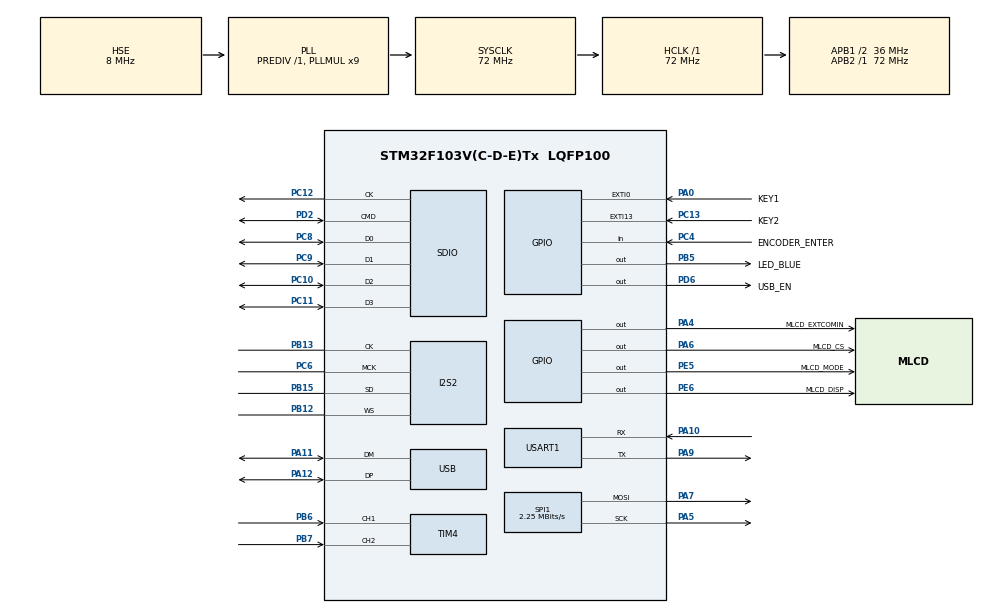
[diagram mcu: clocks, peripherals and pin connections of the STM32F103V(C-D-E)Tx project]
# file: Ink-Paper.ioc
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Dma.Request0=SPI2_TX
Dma.SPI2_TX.0.Direction=DMA_MEMORY_TO_PERIPH
Dma.SPI2_TX.0.Instance=DMA1_Channel5
Dma.SPI2_TX.0.MemDataAlignment=DMA_MDATAALIGN_HALFWORD
Dma.SPI2_TX.0.MemInc=DMA_MINC_ENABLE
Dma.SPI2_TX.0.Mode=DMA_NORMAL
Dma.SPI2_TX.0.PeriphDataAlignment=DMA_PDATAALIGN_HALFWORD
Dma.SPI2_TX.0.PeriphInc=DMA_PINC_DISABLE
Dma.SPI2_TX.0.Priority=DMA_PRIORITY_LOW
FATFS._CODE_PAGE=936
FATFS._FS_LOCK=50
FATFS._FS_REENTRANT=0
FATFS._MAX_LFN=100
FATFS._USE_FIND=1
FATFS._USE_LFN=2
FATFS._VOLUMES=1
FREERTOS.INCLUDE_vTaskDelayUntil=1
FREERTOS.MEMORY_ALLOCATION=1
FREERTOS.Tasks01=defaultTask,0,1024,StartDefaultTask,Default,NULL,Static,defaultTaskBuffer,defaultTaskControlBlock;mainTask,0,1024,StartMainTask,Default,NULL,Static,mainTaskBuffer,mainTaskControlBlock
FREERTOS.configTOTAL_HEAP_SIZE=12288
I2S2.AudioFreq=I2S_AUDIOFREQ_16K
I2S2.ErrorAudioFreq=-2.34 %
I2S2.Instance=SPI$Index
I2S2.MCLKOutput=I2S_MCLKOUTPUT_ENABLE
I2S2.RealAudioFreq=15.625 KHz
I2S2.VirtualMode=I2S_MODE_MASTER
Mcu.Family=STM32F1
Mcu.Name=STM32F103V(C-D-E)Tx
Mcu.Package=LQFP100
NVIC.DMA1_Channel5_IRQn=true\:5\:0\:false\:false\:true\:true\:false\:true\:true
NVIC.EXTI0_IRQn=true\:5\:0\:false\:false\:true\:true\:true\:true\:true
NVIC.PriorityGroup=NVIC_PRIORITYGROUP_4
NVIC.SDIO_IRQn=true\:5\:0\:true\:false\:true\:true\:true\:true\:true
NVIC.TIM1_UP_IRQn=true\:15\:0\:true\:false\:true\:false\:false\:true\:true
NVIC.TimeBase=TIM1_UP_IRQn
NVIC.TimeBaseIP=TIM1
NVIC.USART1_IRQn=true\:5\:0\:false\:false\:true\:true\:true\:true\:true
NVIC.USB_LP_CAN1_RX0_IRQn=true\:6\:0\:true\:false\:true\:true\:false\:true\:true
OSC_IN.Mode=HSE-External-Oscillator
OSC_IN.Signal=RCC_OSC_IN
OSC_OUT.Mode=HSE-External-Oscillator
OSC_OUT.Signal=RCC_OSC_OUT
PA0-WKUP.GPIO_Label=KEY1
PA0-WKUP.GPIO_ModeDefaultEXTI=GPIO_MODE_IT_RISING_FALLING
PA0-WKUP.Signal=GPXTI0
PA10.Mode=Asynchronous
PA10.Signal=USART1_RX
PA11.Mode=Device
PA11.Signal=USB_DM
PA12.Mode=Device
PA12.Signal=USB_DP
PA13.Mode=Serial_Wire
PA13.Signal=SYS_JTMS-SWDIO
PA14.Mode=Serial_Wire
PA14.Signal=SYS_JTCK-SWCLK
PA4.GPIO_Label=MLCD_EXTCOMIN
PA4.Signal=GPIO_Output
PA5.Mode=TX_Only_Simplex_Unidirect_Master
PA5.Signal=SPI1_SCK
PA6.GPIO_Label=MLCD_CS
PA6.Signal=GPIO_Output
PA7.Mode=TX_Only_Simplex_Unidirect_Master
PA7.Signal=SPI1_MOSI
PA9.Mode=Asynchronous
PA9.Signal=USART1_TX
PB12.Mode=Half_Duplex_Master_TX
PB12.Signal=I2S2_WS
PB13.Mode=Half_Duplex_Master_TX
PB13.Signal=I2S2_CK
PB15.Mode=Half_Duplex_Master_TX
PB15.Signal=I2S2_SD
PB5.GPIO_Label=LED_BLUE
PB5.Signal=GPIO_Output
PB6.Signal=S_TIM4_CH1
PB7.Signal=S_TIM4_CH2
PC10.Mode=SD_4_bits_Wide_bus
PC10.Signal=SDIO_D2
PC11.Mode=SD_4_bits_Wide_bus
PC11.Signal=SDIO_D3
PC12.Mode=SD_4_bits_Wide_bus
PC12.Signal=SDIO_CK
PC13-TAMPER-RTC.GPIO_Label=KEY2
PC13-TAMPER-RTC.GPIO_ModeDefaultEXTI=GPIO_MODE_IT_RISING_FALLING
PC13-TAMPER-RTC.Signal=GPXTI13
PC14-OSC32_IN.Mode=LSE-External-Oscillator
PC14-OSC32_IN.Signal=RCC_OSC32_IN
PC15-OSC32_OUT.Mode=LSE-External-Oscillator
PC15-OSC32_OUT.Signal=RCC_OSC32_OUT
PC4.GPIO_Label=ENCODER_ENTER
PC4.GPIO_PuPd=GPIO_PULLUP
PC4.Signal=GPIO_Input
PC6.Mode=Master_Clock_Activated
PC6.Signal=I2S2_MCK
PC8.Mode=SD_4_bits_Wide_bus
PC8.Signal=SDIO_D0
PC9.Mode=SD_4_bits_Wide_bus
PC9.Signal=SDIO_D1
PD2.Mode=SD_4_bits_Wide_bus
PD2.Signal=SDIO_CMD
PD6.GPIO_Label=USB_EN
PD6.GPIO_ModeDefaultOutputPP=GPIO_MODE_OUTPUT_PP
PD6.GPIO_PuPd=GPIO_NOPULL
PD6.PinState=GPIO_PIN_SET
PD6.Signal=GPIO_Output
PE5.GPIO_Label=MLCD_MODE
PE5.Signal=GPIO_Output
PE6.GPIO_Label=MLCD_DISP
PE6.Signal=GPIO_Output
ProjectManager.HeapSize=0x500
ProjectManager.StackSize=0x500
ProjectManager.TargetToolchain=STM32CubeIDE
RCC.AHBFreq_Value=72000000
RCC.APB1CLKDivider=RCC_HCLK_DIV2
RCC.APB1Freq_Value=36000000
RCC.APB1TimFreq_Value=72000000
RCC.APB2Freq_Value=72000000
RCC.APB2TimFreq_Value=72000000
RCC.HCLKFreq_Value=72000000
RCC.PLLMUL=RCC_PLL_MUL9
RCC.PLLSourceVirtual=RCC_PLLSOURCE_HSE
RCC.SYSCLKFreq_VALUE=72000000
RCC.SYSCLKSource=RCC_SYSCLKSOURCE_PLLCLK
RCC.USBFreq_Value=48000000
RCC.USBPrescaler=RCC_USBCLKSOURCE_PLL_DIV1_5
SDIO.ClockDiv=2
SDIO.HardwareFlowControl=SDIO_HARDWARE_FLOW_CONTROL_ENABLE
SH.S_TIM4_CH1.0=TIM4_CH1,Encoder_Interface
SH.S_TIM4_CH2.0=TIM4_CH2,Encoder_Interface
SPI1.BaudRatePrescaler=SPI_BAUDRATEPRESCALER_32
SPI1.CalculateBaudRate=2.25 MBits/s
SPI1.Direction=SPI_DIRECTION_2LINES
SPI1.FirstBit=SPI_FIRSTBIT_LSB
SPI1.Mode=SPI_MODE_MASTER
SPI1.VirtualType=VM_MASTER
TIM4.EncoderMode=TIM_ENCODERMODE_TI12
USART1.VirtualMode=VM_ASYNC
USB_DEVICE.CLASS_NAME_FS=MSC
USB_DEVICE.VirtualMode=Msc
USB_DEVICE.VirtualModeFS=Msc_FS
VP_FATFS_VS_SDIO.Mode=SDIO
VP_FREERTOS_VS_CMSIS_V1.Mode=CMSIS_V1
VP_SYS_VS_tim1.Mode=TIM1
VP_USB_DEVICE_VS_USB_DEVICE_MSC_FS.Mode=MSC_FS
board=custom

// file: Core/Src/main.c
/* USER CODE BEGIN Header */
/**
  ******************************************************************************
  * @file           : main.c
  * @brief          : Main program body
  ******************************************************************************
  * @attention
  *
  * Copyright (c) 2022 STMicroelectronics.
  * All rights reserved.
  *
  * This software is licensed under terms that can be found in the LICENSE file
  * in the root directory of this software component.
  * If no LICENSE file comes with this software, it is provided AS-IS.
  *
  ******************************************************************************
  */

/* USER CODE END Header */
#include "main.h"
#include "cmsis_os.h"
#include "dma.h"
#include "fatfs.h"
#include "i2s.h"
#include "sdio.h"
#include "spi.h"
#include "tim.h"
#include "usart.h"
#include "usb_device.h"
#include "gpio.h"

/* USER CODE BEGIN Includes */
#include "../../User/fops.h"
#include "ff.h"
#include "../../User/bsp_delay.h"
#include "lvgl.h"
/* USER CODE END Includes */

void SystemClock_Config(void);
void MX_FREERTOS_Init(void);

int main(void)
{

  /* MCU Configuration--------------------------------------------------------*/

  /* Reset of all peripherals, Initializes the Flash interface and the Systick. */
  HAL_Init();

  /* Configure the system clock */
  SystemClock_Config();

  /* Initialize all configured peripherals */
  MX_GPIO_Init();
  MX_DMA_Init();
  MX_SPI1_Init();
  MX_USART1_UART_Init();
  MX_SDIO_SD_Init();
  MX_FATFS_Init();
  MX_TIM4_Init();
  MX_I2S2_Init();
  /* USER CODE BEGIN 2 */
    delay_init();
    printf("%d",f_mount(&SDFatFS,SDPath,0));
    exf_showfree((uint8_t*)"0:");
    delay_ms(1000);
  /* USER CODE END 2 */

  /* Call init function for freertos objects (in freertos.c) */
  MX_FREERTOS_Init();

  /* Start scheduler */
  osKernelStart();

  /* We should never get here as control is now taken by the scheduler */
  /* Infinite loop */
    while (1)
    {

    }
}

void SystemClock_Config(void)
{
  RCC_OscInitTypeDef RCC_OscInitStruct = {0};
  RCC_ClkInitTypeDef RCC_ClkInitStruct = {0};
  RCC_PeriphCLKInitTypeDef PeriphClkInit = {0};

  /** Initializes the RCC Oscillators according to the specified parameters
  * in the RCC_OscInitTypeDef structure.
  */
  RCC_OscInitStruct.OscillatorType = RCC_OSCILLATORTYPE_HSE;
  RCC_OscInitStruct.HSEState = RCC_HSE_ON;
  RCC_OscInitStruct.HSEPredivValue = RCC_HSE_PREDIV_DIV1;
  RCC_OscInitStruct.HSIState = RCC_HSI_ON;
  RCC_OscInitStruct.PLL.PLLState = RCC_PLL_ON;
  RCC_OscInitStruct.PLL.PLLSource = RCC_PLLSOURCE_HSE;
  RCC_OscInitStruct.PLL.PLLMUL = RCC_PLL_MUL9;
  if (HAL_RCC_OscConfig(&RCC_OscInitStruct) != HAL_OK)
  {
    Error_Handler();
  }

  /** Initializes the CPU, AHB and APB buses clocks
  */
  RCC_ClkInitStruct.ClockType = RCC_CLOCKTYPE_HCLK|RCC_CLOCKTYPE_SYSCLK
                              |RCC_CLOCKTYPE_PCLK1|RCC_CLOCKTYPE_PCLK2;
  RCC_ClkInitStruct.SYSCLKSource = RCC_SYSCLKSOURCE_PLLCLK;
  RCC_ClkInitStruct.AHBCLKDivider = RCC_SYSCLK_DIV1;
  RCC_ClkInitStruct.APB1CLKDivider = RCC_HCLK_DIV2;
  RCC_ClkInitStruct.APB2CLKDivider = RCC_HCLK_DIV1;

  if (HAL_RCC_ClockConfig(&RCC_ClkInitStruct, FLASH_LATENCY_2) != HAL_OK)
  {
    Error_Handler();
  }
  PeriphClkInit.PeriphClockSelection = RCC_PERIPHCLK_I2S2|RCC_PERIPHCLK_USB;
  PeriphClkInit.I2s2ClockSelection = RCC_I2S2CLKSOURCE_SYSCLK;
  PeriphClkInit.UsbClockSelection = RCC_USBCLKSOURCE_PLL_DIV1_5;
  if (HAL_RCCEx_PeriphCLKConfig(&PeriphClkInit) != HAL_OK)
  {
    Error_Handler();
  }
}

void HAL_TIM_PeriodElapsedCallback(TIM_HandleTypeDef *htim)
{
  if (htim->Instance == TIM1) {
    HAL_IncTick();
  }
  /* USER CODE BEGIN Callback 1 */
  if (htim->Instance == TIM1) {  // 1ms
    lv_tick_inc(1);
  }
  /* USER CODE END Callback 1 */
}

void Error_Handler(void)
{
  __disable_irq();
  while (1)
  {
  }
}

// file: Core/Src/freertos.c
/* USER CODE BEGIN Header */
/**
  ******************************************************************************
  * File Name          : freertos.c
  * Description        : Code for freertos applications
  ******************************************************************************
  * @attention
  *
  * Copyright (c) 2022 STMicroelectronics.
  * All rights reserved.
  *
  * This software is licensed under terms that can be found in the LICENSE file
  * in the root directory of this software component.
  * If no LICENSE file comes with this software, it is provided AS-IS.
  *
  ******************************************************************************
  */
#include "lvgl.h"
#include "lv_port_disp.h"
#include "lv_port_fs.h"
#include "lv_port_indev.h"
#include "../../User/bsp_key.h"
#include "usbd_def.h"
#include "usbd_core.h"
#include "sdio.h"
#include "ff.h"
#include "fatfs.h"
#include "pages/page_main.h"
#include "gui_setup.h"
#include "../../User/fops.h"
#include "../../User/bsp_usart.h"
#include "pages/page_audio.h"
#include "WM8960Apps.h"
/* USER CODE END Header */

#include "FreeRTOS.h"
#include "task.h"
#include "main.h"
#include "cmsis_os.h"

/* USER CODE BEGIN PTD */
extern TIM_HandleTypeDef htim4;
/* USER CODE END PTD */

osThreadId defaultTaskHandle;
uint32_t defaultTaskBuffer[ 1024 ];
osStaticThreadDef_t defaultTaskControlBlock;
osThreadId mainTaskHandle;
uint32_t mainTaskBuffer[ 1024 ];
osStaticThreadDef_t mainTaskControlBlock;

void StartDefaultTask(void const * argument);
void StartMainTask(void const * argument);

extern void MX_USB_DEVICE_Init(void);
void MX_FREERTOS_Init(void); /* (MISRA C 2004 rule 8.1) */

/* GetIdleTaskMemory prototype (linked to static allocation support) */
void vApplicationGetIdleTaskMemory( StaticTask_t **ppxIdleTaskTCBBuffer, StackType_t **ppxIdleTaskStackBuffer, uint32_t *pulIdleTaskStackSize );

/* USER CODE BEGIN GET_IDLE_TASK_MEMORY */
static StaticTask_t xIdleTaskTCBBuffer;
static StackType_t xIdleStack[configMINIMAL_STACK_SIZE];

void vApplicationGetIdleTaskMemory(StaticTask_t **ppxIdleTaskTCBBuffer, StackType_t **ppxIdleTaskStackBuffer,
                                   uint32_t *pulIdleTaskStackSize) {
    *ppxIdleTaskTCBBuffer = &xIdleTaskTCBBuffer;
    *ppxIdleTaskStackBuffer = &xIdleStack[0];
    *pulIdleTaskStackSize = configMINIMAL_STACK_SIZE;
    /* place for user code */
}
/* USER CODE END GET_IDLE_TASK_MEMORY */

void MX_FREERTOS_Init(void) {

  /* Create the thread(s) */
  /* definition and creation of defaultTask */
  osThreadStaticDef(defaultTask, StartDefaultTask, osPriorityNormal, 0, 1024, defaultTaskBuffer, &defaultTaskControlBlock);
  defaultTaskHandle = osThreadCreate(osThread(defaultTask), NULL);

  /* definition and creation of mainTask */
  osThreadStaticDef(mainTask, StartMainTask, osPriorityNormal, 0, 1024, mainTaskBuffer, &mainTaskControlBlock);
  mainTaskHandle = osThreadCreate(osThread(mainTask), NULL);

  /* USER CODE BEGIN RTOS_THREADS */
    vTaskSuspend(mainTaskHandle);
  /* USER CODE END RTOS_THREADS */

}

void StartDefaultTask(void const * argument)
{
  /* init code for USB_DEVICE */
  MX_USB_DEVICE_Init();
  /* USER CODE BEGIN StartDefaultTask */
    static portTickType PreviousWakeTime;
    const portTickType TimeIncrement = pdMS_TO_TICKS(5);
    PreviousWakeTime = xTaskGetTickCount();
    lv_init();
    lv_port_disp_init();
    lv_port_indev_init();
    lv_port_fs_init();
    GUIInit();
    HAL_TIM_Encoder_Start(&htim4,TIM_CHANNEL_ALL);
    vTaskResume(mainTaskHandle);
    HAL_GPIO_WritePin(USB_EN_GPIO_Port, USB_EN_Pin, GPIO_PIN_SET);
    /* Infinite loop */
    for (;;) {
//        if(audio_play_state==AUDIO_PLAY){
//            vTaskDelay(100);
//            audio_play((uint8_t *) global_BUFF, &audio_play_state);
//        }
        USART1_REC_Handler();
        PlayWaveFile(global_BUFF);
        vTaskDelayUntil(&PreviousWakeTime, TimeIncrement);
    }
  /* USER CODE END StartDefaultTask */
}

/* USER CODE BEGIN Header_StartMainTask */
/**
* @brief Function implementing the mainTask thread.
* @param argument: Not used
* @retval None
*/

#define EventBit_USBConnect 0x01
#define EventBit_USBDisconnect 0x02

/* USER CODE END Header_StartMainTask */
void StartMainTask(void const * argument)
{
  /* USER CODE BEGIN StartMainTask */
    static portTickType PreviousWakeTime;
    const portTickType TimeIncrement = pdMS_TO_TICKS(5);
    PreviousWakeTime = xTaskGetTickCount();

    extern void lv_example4(void);
    lv_example4();
//	vTaskDelay(3000);
//	vTaskDelete(NULL);
    //lv_example1();
    /* Infinite loop */
//	lv_obj_t *sym_label = lv_label_create(lv_scr_act());
//	lv_obj_align(sym_label,LV_ALIGN_TOP_LEFT,0,0);
//	lv_obj_set_style_text_font(sym_label,&lv_font_montserrat_18,0);
//	lv_label_set_text(sym_label,"");
    for (;;) {
        lv_task_handler();
//		if(osSignalWait(EventBit_USBConnect,1).status==osEventSignal)
//		{
//			lv_label_set_text(sym_label, LV_SYMBOL_USB);
//		}
//		else if(osSignalWait(EventBit_USBDisconnect,1).status==osEventSignal)
//		{
//			lv_label_set_text(sym_label,"");
//		}
        vTaskDelayUntil(&PreviousWakeTime, TimeIncrement);
    }
  /* USER CODE END StartMainTask */
}

/* USER CODE BEGIN Application */

void lv_example4(void) {
    setup_ui(&ui_main, &ui_ROOT, NULL);
//    uint8_t path[] = "0:heaven.mp3";
//    uint8_t path[] = "0:song.flac";
//    audio_play(path);
//    uint8_t path2[] = "0:heaven.mp3";
//    audio_play(path2);
//    uint8_t path1[] = "0:travel.mp3";
//    audio_play(path1);
}

/**USB???**/
//void App_USB_State_IRQHandler(void)
//{
// static uint8_t old_state = 0;
//  /* ???usb?�????????�? */
//  if(old_state)
//  {
//    /* USB???? */
//   if(pdev->dev_state == USBD_STATE_CONFIGURED)
//   {
//     osSignalSet (mainTaskHandle, EventBit_USBConnect);
//   }
//   /* USB??? */
//   else if(pdev->dev_state==USBD_STATE_SUSPENDED)
//   {
//     osSignalSet (mainTaskHandle, EventBit_USBDisconnect);
//   }
//    old_state = pdev->dev_state;
//  }
//}
/* USER CODE END Application */
